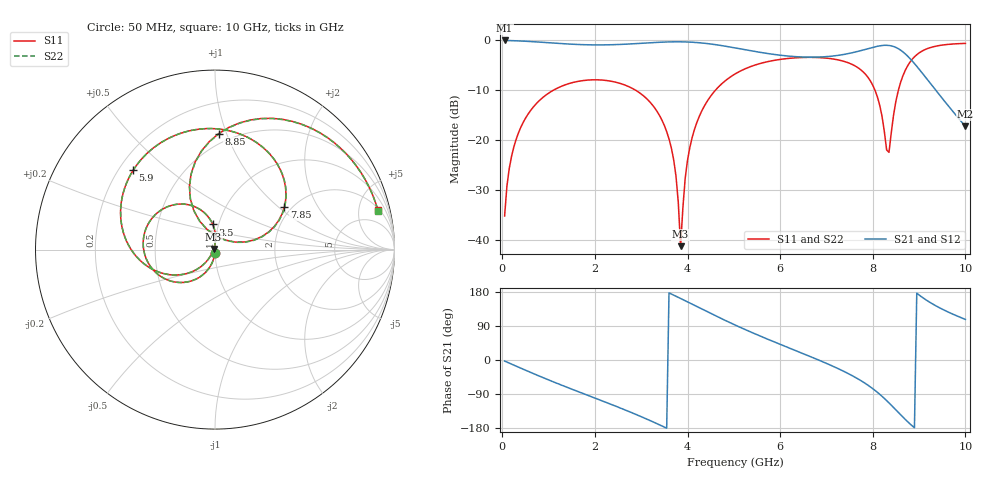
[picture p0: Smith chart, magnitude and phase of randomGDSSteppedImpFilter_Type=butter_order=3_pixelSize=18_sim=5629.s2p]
! freq	dB(S11)	phase(S11)	dB(S12)	phase(S12)
!  dB(S21)	phase(S21)	dB(S22)	phase(S22)
!S-par simulation data
#  GHz  S  DB  R 50
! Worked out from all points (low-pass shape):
!   200 points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, 50 MHz to 10 GHz, reference 50 ohm
!   highest |S21| = 0.00 dB at 50 MHz (marker M1); lowest = -17.2 dB at 10 GHz (marker M2)
!   |S21| within 3 dB of the highest: start of sweep to 6.041 GHz; 7.242 GHz to 8.737 GHz (1.496 GHz wide, 18.7 % of centre)
!   lowest |S11| = -41.2 dB at 3.85 GHz (marker M3), VSWR 1.02, Z = 49.2 + j0.389 ohm
!   |S11| at or under -10 dB: start of sweep to 1.098 GHz; 2.883 GHz to 4.6 GHz (1.717 GHz wide, 45.9 % of centre); 8.049 GHz to 8.552 GHz (503.1 MHz wide, 6.06 % of centre)
!   |S22| runs from -41.4 to -0.6 dB; largest |S21 - S12| = 0
!   S11 on the Smith chart (normalised r, x): 50 MHz: 1.00, -0.03; 3.5 GHz: 0.94, +0.27; 5.9 GHz: 0.26, +0.38; 7.85 GHz: 1.83, +1.10; 8.85 GHz: 0.42, +0.94; 10 GHz: 2.27, +7.77
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0.05  -35.16 -92.7  -0.00 -2.7  -0.00 -2.7  -35.16 -92.7
0.2  -23.21 -101.3  -0.04 -10.9  -0.04 -10.9  -23.21 -101.3
0.5  -15.60 -117.5  -0.16 -26.9  -0.16 -26.9  -15.60 -117.5
1.75  -8.03 -179.3  -0.85 -88.7  -0.85 -88.7  -8.03 -179.3
2.6  -8.77 140.6  -0.78 -129.2  -0.78 -129.2  -8.77 140.5
3.4  -15.12 100.0  -0.36 -171.3  -0.36 -171.3  -15.12 99.9
3.5  -17.05 95.0  -0.32 -177.0  -0.32 -177.0  -17.05 94.9
3.75  -27.12 87.5  -0.27 168.3  -0.27 168.3  -27.12 87.1
3.85  -41.21 153.0  -0.28 162.4  -0.28 162.4  -41.42 152.7
3.95  -27.57 -125.6  -0.30 156.3  -0.30 156.3  -27.58 -125.3
4.15  -17.82 -130.2  -0.39 144.2  -0.39 144.2  -17.82 -130.1
5.05  -6.58 179.8  -1.53 91.0  -1.53 91.0  -6.58 179.7
5.9  -3.94 135.9  -2.84 46.4  -2.84 46.4  -3.94 135.8
6.7  -3.39 96.9  -3.35 6.6  -3.35 6.6  -3.39 96.7
7.25  -3.89 68.4  -2.99 -22.6  -2.99 -22.6  -3.89 68.2
7.85  -6.86 31.6  -1.76 -62.7  -1.76 -62.7  -6.86 31.3
8.1  -11.32 15.6  -1.17 -85.3  -1.17 -85.3  -11.32 15.2
8.35  -22.42 85.0  -1.01 -113.2  -1.01 -113.2  -22.52 85.0
8.55  -10.07 116.0  -1.64 -138.2  -1.64 -138.2  -10.08 115.9
8.85  -3.79 88.2  -4.09 -173.6  -4.09 -173.6  -3.79 88.0
9.25  -1.41 55.2  -8.68 150.9  -8.68 150.9  -1.41 55.0
10  -0.59 13.5  -17.23 107.1  -17.23 107.1  -0.60 13.3
